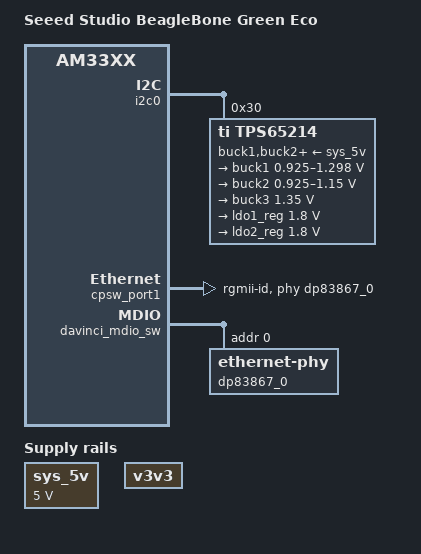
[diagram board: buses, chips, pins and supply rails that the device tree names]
// SPDX-License-Identifier: GPL-2.0-only
/*
 * Copyright (C) 2025 Bootlin
 */
/dts-v1/;

#include "am33xx.dtsi"
#include "am335x-bone-common.dtsi"
#include "am335x-bonegreen-common.dtsi"
#include <dt-bindings/net/ti-dp83867.h>

/ {
	model = "Seeed Studio BeagleBone Green Eco";
	compatible = "seeed,am335x-bone-green-eco", "ti,am33xx";

	cpus {
		cpu@0 {
			cpu0-supply = <&buck1>;
		};
	};

	sys_5v: regulator-sys-5v {
		compatible = "regulator-fixed";
		regulator-name = "sys_5v";
		regulator-min-microvolt = <5000000>;
		regulator-max-microvolt = <5000000>;
		regulator-always-on;
	};

	v3v3: regulator-v3v3 {
		compatible = "regulator-fixed";
		regulator-name = "v3v3";
		regulator-always-on;
	};
};

&usb0 {
	interrupts-extended = <&intc 18>;
	interrupt-names = "mc";
};

&baseboard_eeprom {
	vcc-supply = <&v3v3>;
};

&i2c0 {
	/delete-node/ pmic@24;

	tps65214: pmic@30 {
		compatible = "ti,tps65214";
		reg = <0x30>;
		buck1-supply = <&sys_5v>;
		buck2-supply = <&sys_5v>;
		buck3-supply = <&sys_5v>;
		ldo1-supply = <&sys_5v>;
		ldo2-supply = <&sys_5v>;

		interrupt-parent = <&intc>;
		interrupts = <7>;
		pinctrl-0 = <&pmic_irq_pins_default>;

		regulators {
			buck1: buck1 {
				regulator-name = "vdd_mpu";
				regulator-min-microvolt = <925000>;
				regulator-max-microvolt = <1298500>;
				regulator-boot-on;
				regulator-always-on;
			};

			buck2: buck2 {
				regulator-name = "vdd_core";
				regulator-min-microvolt = <925000>;
				regulator-max-microvolt = <1150000>;
				regulator-boot-on;
				regulator-always-on;
			};

			buck3: buck3 {
				regulator-name = "vdds_ddr";
				regulator-min-microvolt = <1350000>;
				regulator-max-microvolt = <1350000>;
				regulator-always-on;
			};

			ldo1_reg: ldo1 {
				regulator-name = "vdd_1v8_1";
				regulator-min-microvolt = <1800000>;
				regulator-max-microvolt = <1800000>;
				regulator-boot-on;
				regulator-always-on;
			};

			ldo2_reg: ldo2 {
				regulator-name = "vdd_1v8_2";
				regulator-min-microvolt = <1800000>;
				regulator-max-microvolt = <1800000>;
				regulator-boot-on;
				regulator-always-on;
			};
		};
	};
};

&cpsw_port1 {
	phy-mode = "rgmii-id";
	phy-handle = <&dp83867_0>;
	ti,dual-emac-pvid = <1>;
};

&mac_sw {
	pinctrl-0 = <&cpsw_b_default>;
	pinctrl-1 = <&cpsw_b_sleep>;
};

&davinci_mdio_sw {
	/delete-node/ ethernet-phy@0;

	dp83867_0: ethernet-phy@0 {
		reg = <0>;
		ti,rx-internal-delay = <DP83867_RGMIIDCTL_2_50_NS>;
		ti,tx-internal-delay = <DP83867_RGMIIDCTL_2_50_NS>;
		ti,fifo-depth = <DP83867_PHYCR_FIFO_DEPTH_8_B_NIB>;
		ti,min-output-impedance;
		ti,dp83867-rxctrl-strap-quirk;
	};
};

&am33xx_pinmux {
	cpsw_b_default: cpsw-b-default-pins {
		pinctrl-single,pins = <
			AM33XX_PADCONF(AM335X_PIN_MII1_TX_EN, PIN_OUTPUT_PULLDOWN, MUX_MODE2)
			AM33XX_PADCONF(AM335X_PIN_MII1_RX_DV, PIN_INPUT_PULLDOWN, MUX_MODE2)
			AM33XX_PADCONF(AM335X_PIN_MII1_TX_CLK, PIN_OUTPUT_PULLDOWN, MUX_MODE2)
			AM33XX_PADCONF(AM335X_PIN_MII1_RX_CLK, PIN_INPUT_PULLDOWN, MUX_MODE2)
			AM33XX_PADCONF(AM335X_PIN_MII1_TXD0, PIN_OUTPUT_PULLDOWN, MUX_MODE2)
			AM33XX_PADCONF(AM335X_PIN_MII1_TXD1, PIN_OUTPUT_PULLDOWN, MUX_MODE2)
			AM33XX_PADCONF(AM335X_PIN_MII1_TXD2, PIN_OUTPUT_PULLDOWN, MUX_MODE2)
			AM33XX_PADCONF(AM335X_PIN_MII1_TXD3, PIN_OUTPUT_PULLDOWN, MUX_MODE2)
			AM33XX_PADCONF(AM335X_PIN_MII1_RXD0, PIN_INPUT_PULLDOWN, MUX_MODE2)
			AM33XX_PADCONF(AM335X_PIN_MII1_RXD1, PIN_INPUT_PULLDOWN, MUX_MODE2)
			AM33XX_PADCONF(AM335X_PIN_MII1_RXD2, PIN_INPUT_PULLDOWN, MUX_MODE2)
			AM33XX_PADCONF(AM335X_PIN_MII1_RXD3, PIN_INPUT_PULLDOWN, MUX_MODE2)
		>;
	};

	cpsw_b_sleep: cpsw-b-sleep-pins {
		pinctrl-single,pins = <
			AM33XX_PADCONF(AM335X_PIN_MII1_TX_EN, PIN_INPUT_PULLDOWN, MUX_MODE7)
			AM33XX_PADCONF(AM335X_PIN_MII1_RX_DV, PIN_INPUT_PULLDOWN, MUX_MODE7)
			AM33XX_PADCONF(AM335X_PIN_MII1_TX_CLK, PIN_INPUT_PULLDOWN, MUX_MODE7)
			AM33XX_PADCONF(AM335X_PIN_MII1_RX_CLK, PIN_INPUT_PULLDOWN, MUX_MODE7)
			AM33XX_PADCONF(AM335X_PIN_MII1_TXD0, PIN_INPUT_PULLDOWN, MUX_MODE7)
			AM33XX_PADCONF(AM335X_PIN_MII1_TXD1, PIN_INPUT_PULLDOWN, MUX_MODE7)
			AM33XX_PADCONF(AM335X_PIN_MII1_TXD2, PIN_INPUT_PULLDOWN, MUX_MODE7)
			AM33XX_PADCONF(AM335X_PIN_MII1_TXD3, PIN_INPUT_PULLDOWN, MUX_MODE7)
			AM33XX_PADCONF(AM335X_PIN_MII1_RXD0, PIN_INPUT_PULLDOWN, MUX_MODE7)
			AM33XX_PADCONF(AM335X_PIN_MII1_RXD1, PIN_INPUT_PULLDOWN, MUX_MODE7)
			AM33XX_PADCONF(AM335X_PIN_MII1_RXD2, PIN_INPUT_PULLDOWN, MUX_MODE7)
			AM33XX_PADCONF(AM335X_PIN_MII1_RXD3, PIN_INPUT_PULLDOWN, MUX_MODE7)
		>;
	};

	pmic_irq_pins_default: pmic-irq-default-pins {
		pinctrl-single,pins = <
			AM33XX_IOPAD(AM335X_PIN_NNMI, PIN_INPUT_PULLUP | MUX_MODE0)
		>;
	};
};
